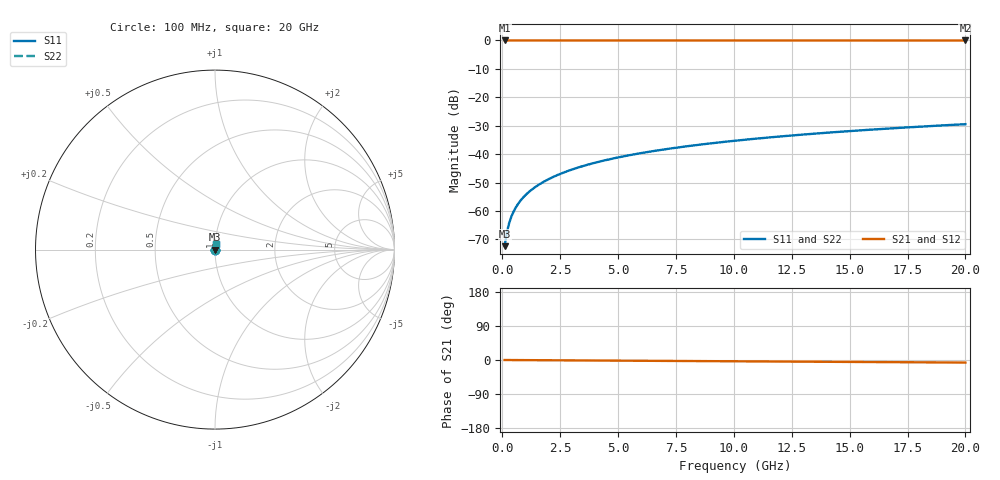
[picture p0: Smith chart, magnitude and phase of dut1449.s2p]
! Touchstone file exported from HFSS 2026.1.0
!  File:  C:/ffzhzh/LocalFiles/Ansys_Project_Files/temp_train_TSV_1449_1783197834_43440.aedt
!  Generated:  04:45:19 AM Jul  5, 2026
!  Design:  TSV
!  Project:  temp_train_TSV_1449_1783197834_43440
! Variables:
!  h_bsmrdl = 2um
!  h_ox = 20um
!  h_rdl = 5um
!  h_sub = 59.94um
!  h_tmrdl = 5um
!  h_tsv = 59.94um
!  h_via = 3um
!  l_bsmrdl = 300um
!  l_sub = 417.08um
!  l_tmrdl = 200um
!  m_sub = 200um
!  pitch = 48.69um
!  r_tsv = 8.54um
!  s_tmrdl = 10um
!  w_bsmrdl = 18um
!  w_sub = 500um
!  w_tmrdl = 12um
!  x_tsv_center1 = 206um
!  x_tsv_center2 = 524um
!  x_tsv_center3 = 736um
!  x_tsv_center4 = 1054um
!  x_tsv_center5 = 1266um
!  x_tsv_center6 = 1584um
# GHz S MA R 50.000000
! Terminal data exported
! Port[1] = TSV1_1_T1
! Port[2] = TSV1_1_T2
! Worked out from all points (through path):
!   200 points, 100 MHz to 20 GHz, reference 50 ohm
!   highest |S21| = 0.00 dB at 100 MHz (marker M1); lowest = 0.0 dB at 20 GHz (marker M2)
!   lowest |S11| = -72.4 dB at 100 MHz (marker M3), VSWR 1.00, Z = 50 + j0.0202 ohm
!   |S11| at or under -10 dB: start of sweep to end of sweep
!   |S22| runs from -72.4 to -29.5 dB; largest |S21 - S12| = 2.2e-15
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0.1  0.0002397 57.5  0.9999 -0.0  0.9999 -0.0  0.0002397 57.5
! Gamma 0 0 0 0
! Port Impedance 50 0 50 0
0.2  0.0004254 71.1  0.9999 -0.1  0.9999 -0.1  0.0004254 71.1
0.3  0.0006181 75.8  0.9998 -0.1  0.9998 -0.1  0.0006181 75.8
0.4  0.0008096 78.0  0.9998 -0.1  0.9998 -0.1  0.0008096 78.0
0.5  0.0009978 79.2  0.9998 -0.2  0.9998 -0.2  0.0009978 79.2
0.6  0.001183 79.9  0.9998 -0.2  0.9998 -0.2  0.001183 79.9
0.7  0.001364 80.5  0.9998 -0.2  0.9998 -0.2  0.001364 80.5
0.8  0.001543 80.9  0.9998 -0.3  0.9998 -0.3  0.001543 80.9
1  0.001895 81.6  0.9997 -0.3  0.9997 -0.3  0.001895 81.6
1.4  0.002588 82.6  0.9997 -0.5  0.9997 -0.5  0.002588 82.6
1.7  0.003105 83.1  0.9997 -0.6  0.9997 -0.6  0.003105 83.1
2  0.00362 83.6  0.9996 -0.7  0.9996 -0.7  0.00362 83.6
2.7  0.004821 84.2  0.9996 -0.9  0.9996 -0.9  0.004821 84.2
3.5  0.00619 84.5  0.9995 -1.2  0.9995 -1.2  0.00619 84.5
4.2  0.007383 84.6  0.9995 -1.4  0.9995 -1.4  0.007383 84.6
5  0.008739 84.7  0.9994 -1.7  0.9994 -1.7  0.008739 84.7
6.8  0.01177 84.5  0.9993 -2.3  0.9993 -2.3  0.01177 84.5
8.3  0.01428 84.3  0.9992 -2.8  0.9992 -2.8  0.01428 84.3
10.1  0.01728 83.9  0.9991 -3.4  0.9991 -3.4  0.01728 83.9
13.4  0.02276 83.2  0.9988 -4.5  0.9988 -4.5  0.02276 83.2
16.7  0.02821 82.3  0.9986 -5.7  0.9986 -5.7  0.02821 82.3
20  0.03362 81.3  0.9983 -6.8  0.9983 -6.8  0.03362 81.3
